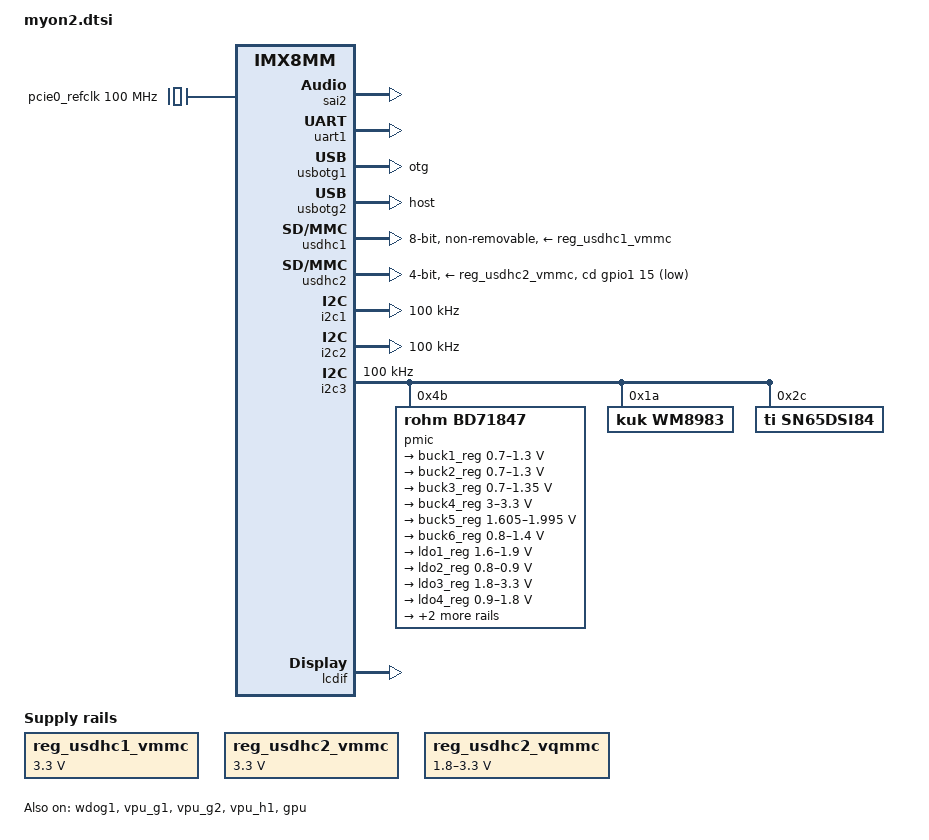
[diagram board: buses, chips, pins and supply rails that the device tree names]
/*
 * Copyright 2020 Keith & Koep GmbH
 */

/*
Defines:
    
    MYON2_SWITCH_USDHC2_VQMMC       Allow for UHS transfer rate on external SD-card.

*/

#include "imx8mm.dtsi"
#include "myon2-pinfunc.h"

#define MYON2_HOGGRP_COMMON     PIN0_32_GPIO   PAD_GPIO_PD      /* nReset_Out   */

/ {
	firmware {
		android {
			compatible = "android,firmware";
			/* default emmc node used for GSI */
			boot_devices = "soc@0/soc@0:bus@30800000/30b40000.mmc";
			/* sd card node which used if androidboot.boot_device_root=mmcblk1 */
			boot_devices_mmcblk1 = "soc@0/soc@0:bus@30800000/30b40000.mmc";
			/* emmc node which used if androidboot.boot_device_root=mmcblk2 */
			boot_devices_mmcblk2 = "soc@0/soc@0:bus@30800000/30b40000.mmc";
			fstab {
				compatible = "android,fstab";
				system {
					compatible = "android,system";
					dev = "system";
					type = "ext4";
					mnt_flags = "noatime,errors=panic,ro,barrier=1,inode_readahead_blks=8";
					fsmgr_flags = "wait,slotselect,avb,avb_keys=/avb/q-gsi.avbpubkey:/avb/r-gsi.avbpubkey:/avb/s-gsi.avbpubkey,logical,first_stage_mount";
				};
				vendor {
					compatible = "android,vendor";
					dev = "vendor";
					type = "ext4";
					mnt_flags = "noatime,errors=panic,ro,barrier=1,inode_readahead_blks=8";
					fsmgr_flags = "wait,slotselect,avb,logical,first_stage_mount";
				};
				product {
					compatible = "android,product";
					dev = "product";
					type = "ext4";
					mnt_flags = "noatime,errors=panic,ro,barrier=1,inode_readahead_blks=8";
					fsmgr_flags = "wait,slotselect,avb,logical,first_stage_mount";
				};
			};
			vbmeta {
				/*we need use FirstStageMountVBootV2 if we enable avb*/
				compatible = "android,vbmeta";
				/*parts means the partition witch can be mount in first stage*/
				parts = "vbmeta,dtbo,boot,system,vendor,product";
			};
		};
	};
};

/ {
	trusty {
		compatible = "android,trusty-smc-v1";
		ranges;
		#address-cells = <2>;
		#size-cells = <2>;
		trusty-irq {
			compatible = "android,trusty-irq-v1";
			interrupt-templates = <&trusty_ipi 0>;
			interrupt-ranges = < 0 15 0>;
		};
		trusty-virtio {
			compatible = "android,trusty-virtio-v1";
		};
		trusty-log {
			compatible = "android,trusty-log-v1";
		};
	};
	trusty_ipi: interrupt-controller@0 {
		compatible = "android,CustomIPI";
		interrupt-controller;
		#interrupt-cells = <1>;
	};
};

/ {
	reserved-memory {
		#address-cells = <2>;
		#size-cells = <2>;
		ranges;

		rpmsg_reserved: rpmsg@0xb8000000 {
			no-map;
			reg = <0 0xb8000000 0 0x400000>;
		};
	};

	pcie0_refclk: pcie0-refclk {
		compatible = "fixed-clock";
		#clock-cells = <0>;
		clock-frequency = <100000000>;
	};

	reg_usdhc1_vmmc: usdhc1_vmmc {
		compatible = "regulator-fixed";
		regulator-name = "VMMC_USDHC1";
		regulator-min-microvolt = <3300000>;
		regulator-max-microvolt = <3300000>;
		enable-active-high;
	};

	reg_usdhc2_vmmc: regulator-usdhc2 {
		compatible = "regulator-fixed";
		regulator-name = "VMMC_USDHC2";
		regulator-min-microvolt = <3300000>;
		regulator-max-microvolt = <3300000>;
		enable-active-high;
	};

	reg_usdhc2_vqmmc: regulator-usdhc2-vqmmc {
		compatible = "regulator-gpio";
		regulator-name = "VDDIO_USDHC2";
		regulator-min-microvolt = <1800000>;
		regulator-max-microvolt = <3300000>;
    	pinctrl-names = "default";
	    pinctrl-0 = <&pinctrl_sd_vsel>;        
        gpios = <sd_vsel_gpio GPIO_ACTIVE_HIGH>;
        gpios-states = <1>;
		states = <1800000 1>, <3300000 0>;
	};

	sound-wm8983 {
		compatible = "kuk,imx-audio-wm8983";
		model = "wm8983-audio";
		audio-cpu = <&sai2>;
		audio-codec = <&wm8983>;
		audio-routing =
			"Headphone Jack", "HPL",
			"Headphone Jack", "HPR",
			"Headphone Jack", "OUT4",
			"Speaker", "SPKL",
			"Speaker", "SPKR",
			"LineIn Jack", "L2",
			"LineIn Jack", "R2",
			"Microphone", "LIP",
			"Microphone", "LIN",
			"Microphone", "MICBIAS";
		codec-master;
	};

	sound-spdif {
		compatible = "fsl,imx-audio-spdif";
		model = "imx-spdif";
		spdif-controller = <&spdif1>;
		spdif-out;
		spdif-in;
	};

	sound-micfil {
		compatible = "fsl,imx-audio-micfil";
		model = "imx-audio-micfil";
		cpu-dai = <&micfil>;
	};

	backlight: backlight {
		compatible = "pwm-backlight";
		pwms = <&pwm1 0 100000 0>;
		brightness-levels = < 0  1  2  3  4  5  6  7  8  9
				     10 11 12 13 14 15 16 17 18 19
				     20 21 22 23 24 25 26 27 28 29
				     30 31 32 33 34 35 36 37 38 39
				     40 41 42 43 44 45 46 47 48 49
				     50 51 52 53 54 55 56 57 58 59
				     60 61 62 63 64 65 66 67 68 69
				     70 71 72 73 74 75 76 77 78 79
				     80 81 82 83 84 85 86 87 88 89
				     90 91 92 93 94 95 96 97 98 99
				    100>;
		default-brightness-level = <80>;
		status = "disabled";
 	};
};

&A53_0 {
	cpu-supply = <&buck2_reg>;
};

&pcie0{
	pinctrl-names   = "default";
	pinctrl-0       = <&pinctrl_pcie0>;
	disable-gpio    = <&gpio3 17 GPIO_ACTIVE_LOW>;
	reset-gpio      = <&gpio2 19 GPIO_ACTIVE_LOW>;
	clocks          = <&clk IMX8MM_CLK_PCIE1_ROOT>,
		                <&clk IMX8MM_CLK_PCIE1_AUX>,
		                <&clk IMX8MM_CLK_PCIE1_PHY>,
		                <&pcie0_refclk>;
	clock-names = "pcie", "pcie_aux", "pcie_phy", "pcie_bus";
	hard-wired      = <1>;
    ext_osc         = <0>;
	reserved-region = <&rpmsg_reserved>;
	status = "disabled";
};

&clk {
	assigned-clocks = <&clk IMX8MM_AUDIO_PLL1>, <&clk IMX8MM_AUDIO_PLL2>;
	assigned-clock-rates = <786432000>, <722534400>;
};

&sai2 {
	#sound-dai-cells = <0>;
	pinctrl-names = "default";
	pinctrl-0 = <&pinctrl_sai2>;
	assigned-clocks = <&clk IMX8MM_CLK_SAI2>;
	assigned-clock-parents = <&clk IMX8MM_AUDIO_PLL1_OUT>;
	assigned-clock-rates = <24576000>;
	status = "okay";
};

&snvs_pwrkey {
	status = "disabled";
};

&uart1 { /* UART on Port2 (debug) J70-69,71 */
	pinctrl-names = "default";
	pinctrl-0 = <&pinctrl_uart1>;
	assigned-clocks = <&clk IMX8MM_CLK_UART1>;
	assigned-clock-parents = <&clk IMX8MM_SYS_PLL1_80M>;
	fsl,uart-has-rtscts;
	status = "okay";
};

&uart2 { /* UART on Port1 J70-61,63 */
	pinctrl-names = "default";
	pinctrl-0 = <&pinctrl_uart2>;
	assigned-clocks = <&clk IMX8MM_CLK_UART2>;
	assigned-clock-parents = <&clk IMX8MM_SYS_PLL1_80M>;
    fsl,uart-has-rtscts;
	status = "disabled";
};

&uart3 { /* UART on Port 3 J70-54,58 */
	pinctrl-names = "default";
	pinctrl-0 = <&pinctrl_uart3>;
	assigned-clocks = <&clk IMX8MM_CLK_UART3>;
	assigned-clock-parents = <&clk IMX8MM_SYS_PLL1_80M>;
	fsl,uart-has-rtscts;
	status = "disabled";
};

&uart4 { 
	pinctrl-names = "default";
	pinctrl-0 = <&pinctrl_uart4>;
	assigned-clocks = <&clk IMX8MM_CLK_UART4>;
	assigned-clock-parents = <&clk IMX8MM_SYS_PLL1_80M>;
	fsl,uart-has-rtscts;
	status = "disabled";
};


&usbotg1 {
	dr_mode = "otg";
	hnp-disable;
	srp-disable;
	adp-disable;
	usb-role-switch;
	picophy,pre-emp-curr-control = <3>;
	picophy,dc-vol-level-adjust = <7>;
	status = "okay";
};

&usbotg2 {
	dr_mode = "host";
	hnp-disable;
	srp-disable;
	adp-disable;
	usb-role-switch;
	picophy,pre-emp-curr-control = <3>;
	picophy,dc-vol-level-adjust = <7>;
	status = "okay";
};

&usdhc1 {
	pinctrl-names = "default", "state_100mhz", "state_200mhz";
	pinctrl-0 = <&pinctrl_usdhc1>, <&pinctrl_usdhc1_gpio>;
	pinctrl-1 = <&pinctrl_usdhc1_100mhz>, <&pinctrl_usdhc1_gpio>;
	pinctrl-2 = <&pinctrl_usdhc1_200mhz>, <&pinctrl_usdhc1_gpio>;
	bus-width = <8>;
	vmmc-supply = <&reg_usdhc1_vmmc>;
	non-removable;
	status = "okay";
};

&usdhc2 {
	pinctrl-names = "default", "state_100mhz", "state_200mhz";
	pinctrl-0 = <&pinctrl_usdhc2>, <&pinctrl_usdhc2_gpio>;
	pinctrl-1 = <&pinctrl_usdhc2_100mhz>, <&pinctrl_usdhc2_gpio>;
	pinctrl-2 = <&pinctrl_usdhc2_200mhz>, <&pinctrl_usdhc2_gpio>;
	cd-gpios = <&gpio1 15 GPIO_ACTIVE_LOW>;
	bus-width = <4>;
	vmmc-supply = <&reg_usdhc2_vmmc>;
	pm-ignore-notify;
	keep-power-in-suspend;
#if defined(MYON2_SWITCH_USDHC2_VQMMC) && (MYON2_SWITCH_USDHC2_VQMMC==1)
    vqmmc-supply = <&reg_usdhc2_vqmmc>;
#else
    no-1-8-v;
#endif    
	status = "okay";
};

&wdog1 {
	pinctrl-names = "default";
	pinctrl-0 = <&pinctrl_wdog>;
	fsl,ext-reset-output;
	status = "okay";
};

&i2c1 { /* CAM_I2C on J71-67,69 */
	clock-frequency = <100000>;
	pinctrl-names = "default";
	pinctrl-0 = <&pinctrl_i2c1>;
	status = "okay";
};

&i2c2 { /* I2C on Port4 J70-66,68 (typ. touch) */
	clock-frequency = <100000>;
	pinctrl-names = "default";
	pinctrl-0 = <&pinctrl_i2c2>;
	status = "okay";
};

&i2c3 { /* Internal I2C and Port6 J70-19,21 (typ. RTC) */
	clock-frequency = <100000>;
	pinctrl-names = "default";
	pinctrl-0 = <&pinctrl_i2c3>;
	status = "okay";

	pmic@4b {
		compatible = "rohm,bd71847";
		reg = <0x4b>;
		rohm,reset-snvs-powered;

		regulators {
			buck1_reg: BUCK1 {  // VDD_SOC_0V8
				regulator-name = "BUCK1";
				regulator-min-microvolt = <700000>;
				regulator-max-microvolt = <1300000>;
				regulator-boot-on;
				regulator-always-on;
				regulator-ramp-delay = <1250>;
			};

			buck2_reg: BUCK2 {  // VDD_SOC_0V9
				regulator-name = "BUCK2";
				regulator-min-microvolt = <700000>;
				regulator-max-microvolt = <1300000>;
				regulator-boot-on;
				regulator-always-on;
				regulator-ramp-delay = <1250>;
				rohm,dvs-run-voltage = <1000000>;
				rohm,dvs-idle-voltage = <900000>;
			};

			buck3_reg: BUCK3 {  // VDD_DRAM_PU_0V9
				// BUCK5 in datasheet
				regulator-name = "BUCK3";
				regulator-min-microvolt = <700000>;
				regulator-max-microvolt = <1350000>;
				regulator-boot-on;
				regulator-always-on;
			};

			buck4_reg: BUCK4 {  // +3V3_AUX
				// BUCK6 in datasheet
				regulator-name = "BUCK4";
				regulator-min-microvolt = <3000000>;
				regulator-max-microvolt = <3300000>;
				regulator-boot-on;
				regulator-always-on;
			};

			buck5_reg: BUCK5 {  // VDD_1V8
				// BUCK7 in datasheet
				regulator-name = "BUCK5";
				regulator-min-microvolt = <1605000>;
				regulator-max-microvolt = <1995000>;
				regulator-boot-on;
				regulator-always-on;
			};

			buck6_reg: BUCK6 {  // NVCC_DRAM_1V1
				// BUCK8 in datasheet
				regulator-name = "BUCK6";
				regulator-min-microvolt = <800000>;
				regulator-max-microvolt = <1400000>;
				regulator-boot-on;
				regulator-always-on;
			};

			ldo1_reg: LDO1 {    // NVCC_SNVS_1V8
				regulator-name = "LDO1";
				regulator-min-microvolt = <1600000>;
				regulator-max-microvolt = <1900000>;
				regulator-boot-on;
				regulator-always-on;
			};

			ldo2_reg: LDO2 {    // VDD_SNVS_0V8
				regulator-name = "LDO2";
				regulator-min-microvolt = <800000>;
				regulator-max-microvolt = <900000>;
				regulator-boot-on;
				regulator-always-on;
			};

			ldo3_reg: LDO3 {    // VDDA_1V8
				regulator-name = "LDO3";
				regulator-min-microvolt = <1800000>;
				regulator-max-microvolt = <3300000>;
				regulator-boot-on;
				regulator-always-on;
			};

			ldo4_reg: LDO4 {    // VDD_PHY_0V9
				regulator-name = "LDO4";
				regulator-min-microvolt = <900000>;
				regulator-max-microvolt = <1800000>;
				regulator-boot-on;
				regulator-always-on;
			};

			ldo5_reg: LDO5 {    // VDD_ENET_2V5
				regulator-name = "LDO5";
				regulator-min-microvolt = <800000>;
				regulator-max-microvolt = <3300000>;
				regulator-boot-on;
				regulator-always-on;
			};

			ldo6_reg: LDO6 {    // VDD_PHY_1V2
				regulator-name = "LDO6";
				regulator-min-microvolt = <900000>;
				regulator-max-microvolt = <1800000>;
				regulator-boot-on;
				regulator-always-on;
			};
		};
	};

	wm8983: wm8983@1a {	/* Audio-Codec */
		compatible = "kuk,wm8983";
		reg = <0x1a>;
		clocks = <&clk IMX8MM_CLK_SAI2_ROOT>;
		clock-names = "mclk";		
	};

	sn65dsi84@2c {
		status = "ok";
		compatible = "ti,sn65dsi84";
		reg = <0x2c>;
		enable-gpios =<pin0_72_gpio GPIO_ACTIVE_HIGH>;
					
		pinctrl-names = "default";
		pinctrl-0 = <&pinctrl_i2c3_sn65dsi84_en>;
	};    
};


&iomuxc {
	pinctrl-names = "default";

	pinctrl_fec1: fec1grp {
		fsl,pins = <
			MX8MM_IOMUXC_ENET_MDC_ENET1_MDC			0x3
			MX8MM_IOMUXC_ENET_MDIO_ENET1_MDIO		0x3
			MX8MM_IOMUXC_ENET_TD3_ENET1_RGMII_TD3		0x1f
			MX8MM_IOMUXC_ENET_TD2_ENET1_RGMII_TD2		0x1f
			MX8MM_IOMUXC_ENET_TD1_ENET1_RGMII_TD1		0x1f
			MX8MM_IOMUXC_ENET_TD0_ENET1_RGMII_TD0		0x1f
			MX8MM_IOMUXC_ENET_RD3_ENET1_RGMII_RD3		0x91
			MX8MM_IOMUXC_ENET_RD2_ENET1_RGMII_RD2		0x91
			MX8MM_IOMUXC_ENET_RD1_ENET1_RGMII_RD1		0x91
			MX8MM_IOMUXC_ENET_RD0_ENET1_RGMII_RD0		0x91
			MX8MM_IOMUXC_ENET_TXC_ENET1_RGMII_TXC		0x1f
			MX8MM_IOMUXC_ENET_RXC_ENET1_RGMII_RXC		0x91
			MX8MM_IOMUXC_ENET_RX_CTL_ENET1_RGMII_RX_CTL	0x91
			MX8MM_IOMUXC_ENET_TX_CTL_ENET1_RGMII_TX_CTL	0x1f
			MX8MM_IOMUXC_GPIO1_IO09_GPIO1_IO9		0x19
		>;
	};


	pinctrl_i2c1: i2c1grp {
		fsl,pins = <
			MX8MM_IOMUXC_I2C1_SCL_I2C1_SCL			0x400001c3
			MX8MM_IOMUXC_I2C1_SDA_I2C1_SDA			0x400001c3
		>;
	};

	pinctrl_i2c2: i2c2grp {
		fsl,pins = <
			MX8MM_IOMUXC_I2C2_SCL_I2C2_SCL			0x400001c3
			MX8MM_IOMUXC_I2C2_SDA_I2C2_SDA			0x400001c3
		>;
	};

	pinctrl_i2c3: i2c3grp {
		fsl,pins = <
			MX8MM_IOMUXC_I2C3_SCL_I2C3_SCL			0x400001c3
			MX8MM_IOMUXC_I2C3_SDA_I2C3_SDA			0x400001c3
		>;
	};

	pinctrl_i2c4: i2c4grp {
		fsl,pins = <
			MX8MM_IOMUXC_I2C4_SCL_I2C4_SCL			0x400001c3
			MX8MM_IOMUXC_I2C4_SDA_I2C4_SDA			0x400001c3
		>;
	};    

	pinctrl_pcie0: pcie0grp {
		fsl,pins = <
			MX8MM_IOMUXC_I2C4_SCL_PCIE1_CLKREQ_B	0x61    /* open drain, pull up */
			MX8MM_IOMUXC_NAND_CE1_B_GPIO3_IO2	0x41   		/* PCIE1_WAKE          */
		>;
	};


	pinctrl_sai2: sai2grp {
		fsl,pins = <
			MX8MM_IOMUXC_SAI2_TXFS_SAI2_TX_SYNC	0xd6
			MX8MM_IOMUXC_SAI2_TXC_SAI2_TX_BCLK	0xd6
			MX8MM_IOMUXC_SAI2_MCLK_SAI2_MCLK	0xd6
			MX8MM_IOMUXC_SAI2_TXD0_SAI2_TX_DATA0	0xd6
			MX8MM_IOMUXC_SAI2_RXD0_SAI2_RX_DATA0	0xd6			
		>;
    };

	pinctrl_uart1: uart1grp {
		fsl,pins = <
			MX8MM_IOMUXC_UART1_RXD_UART1_DCE_RX	0x140
			MX8MM_IOMUXC_UART1_TXD_UART1_DCE_TX	0x140
		>;
	};

	pinctrl_uart2: uart2grp {
		fsl,pins = <
			MX8MM_IOMUXC_UART2_RXD_UART2_DCE_RX	0x140
			MX8MM_IOMUXC_UART2_TXD_UART2_DCE_TX	0x140
			MX8MM_IOMUXC_UART4_RXD_UART2_DCE_CTS_B  0x140     /* RTS */
			MX8MM_IOMUXC_UART4_TXD_UART2_DCE_RTS_B  0x140     /* CTS */
		>;
	};

	pinctrl_uart3: uart3grp {
		fsl,pins = <
			MX8MM_IOMUXC_ECSPI1_SCLK_UART3_DCE_RX		0x140  /* SCHEMA/LAYOUT: RXD */
			MX8MM_IOMUXC_ECSPI1_MISO_UART3_DCE_CTS_B	0x140  /* SCHEMA/LAYOUT: RTS */
			MX8MM_IOMUXC_ECSPI1_MOSI_UART3_DCE_TX		0x140  /* SCHEMA/LAYOUT: TXD */
			MX8MM_IOMUXC_ECSPI1_SS0_UART3_DCE_RTS_B		0x140  /* SCHEMA/LAYOUT: CTS */
		>;
	};

	pinctrl_uart4: uart4grp {
		fsl,pins = <
			MX8MM_IOMUXC_ECSPI2_SCLK_UART4_DCE_RX		0x140
			MX8MM_IOMUXC_ECSPI2_MOSI_UART4_DCE_TX		0x140
			MX8MM_IOMUXC_ECSPI2_SS0_UART4_DCE_RTS_B         0x140
			MX8MM_IOMUXC_ECSPI2_MISO_UART4_DCE_CTS_B	0x140
		>;
	};

	pinctrl_usdhc1_gpio: usdhc1grpgpio {
		fsl,pins = <
			MX8MM_IOMUXC_SD1_RESET_B_USDHC1_RESET_B	0xc1
		>;
	};

	pinctrl_usdhc1: usdhc1grp {
		fsl,pins = <
			MX8MM_IOMUXC_SD1_CLK_USDHC1_CLK		0x190
			MX8MM_IOMUXC_SD1_CMD_USDHC1_CMD		0x1d0
			MX8MM_IOMUXC_SD1_DATA0_USDHC1_DATA0	0x1d0
			MX8MM_IOMUXC_SD1_DATA1_USDHC1_DATA1	0x1d0
			MX8MM_IOMUXC_SD1_DATA2_USDHC1_DATA2	0x1d0
			MX8MM_IOMUXC_SD1_DATA3_USDHC1_DATA3	0x1d0
			MX8MM_IOMUXC_SD1_DATA4_USDHC1_DATA4	0x1d0
			MX8MM_IOMUXC_SD1_DATA5_USDHC1_DATA5	0x1d0
			MX8MM_IOMUXC_SD1_DATA6_USDHC1_DATA6	0x1d0
			MX8MM_IOMUXC_SD1_DATA7_USDHC1_DATA7	0x1d0
			MX8MM_IOMUXC_SD1_STROBE_USDHC1_STROBE	0x190			
		>;
	};

	pinctrl_usdhc1_100mhz: usdhc1grp100mhz {
		fsl,pins = <
			MX8MM_IOMUXC_SD1_CLK_USDHC1_CLK		0x194
			MX8MM_IOMUXC_SD1_CMD_USDHC1_CMD		0x1d4
			MX8MM_IOMUXC_SD1_DATA0_USDHC1_DATA0	0x1d4
			MX8MM_IOMUXC_SD1_DATA1_USDHC1_DATA1	0x1d4
			MX8MM_IOMUXC_SD1_DATA2_USDHC1_DATA2	0x1d4
	    	MX8MM_IOMUXC_SD1_DATA3_USDHC1_DATA3	0x1d4
			MX8MM_IOMUXC_SD1_DATA4_USDHC1_DATA4	0x1d4
			MX8MM_IOMUXC_SD1_DATA5_USDHC1_DATA5	0x1d4
			MX8MM_IOMUXC_SD1_DATA6_USDHC1_DATA6	0x1d4
			MX8MM_IOMUXC_SD1_DATA7_USDHC1_DATA7	0x1d4
			MX8MM_IOMUXC_SD1_STROBE_USDHC1_STROBE	0x194
		>;
	};

	pinctrl_usdhc1_200mhz: usdhc1grp200mhz {
		fsl,pins = <
			MX8MM_IOMUXC_SD1_CLK_USDHC1_CLK		0x196
			MX8MM_IOMUXC_SD1_CMD_USDHC1_CMD		0x1d6
			MX8MM_IOMUXC_SD1_DATA0_USDHC1_DATA0	0x1d6
			MX8MM_IOMUXC_SD1_DATA1_USDHC1_DATA1	0x1d6
			MX8MM_IOMUXC_SD1_DATA2_USDHC1_DATA2	0x1d6
			MX8MM_IOMUXC_SD1_DATA3_USDHC1_DATA3	0x1d6
			MX8MM_IOMUXC_SD1_DATA4_USDHC1_DATA4	0x1d6
			MX8MM_IOMUXC_SD1_DATA5_USDHC1_DATA5	0x1d6
			MX8MM_IOMUXC_SD1_DATA6_USDHC1_DATA6	0x1d6
			MX8MM_IOMUXC_SD1_DATA7_USDHC1_DATA7	0x1d6
			MX8MM_IOMUXC_SD1_STROBE_USDHC1_STROBE	0x196
		>;
	};

	pinctrl_usdhc2_gpio: usdhc2grpgpio {
		fsl,pins = <
			MX8MM_IOMUXC_SD2_CD_B_GPIO2_IO12	0x1c4
		>;
	};

	pinctrl_usdhc2: usdhc2grp {
		fsl,pins = <
			MX8MM_IOMUXC_SD2_CLK_USDHC2_CLK		0x190
			MX8MM_IOMUXC_SD2_CMD_USDHC2_CMD		0x1d0
			MX8MM_IOMUXC_SD2_DATA0_USDHC2_DATA0	0x1d0
			MX8MM_IOMUXC_SD2_DATA1_USDHC2_DATA1	0x1d0
			MX8MM_IOMUXC_SD2_DATA2_USDHC2_DATA2	0x1d0
			MX8MM_IOMUXC_SD2_DATA3_USDHC2_DATA3	0x1d0
		>;
	};

	pinctrl_usdhc2_100mhz: usdhc2grp100mhz {
		fsl,pins = <
			MX8MM_IOMUXC_SD2_CLK_USDHC2_CLK		0x194
			MX8MM_IOMUXC_SD2_CMD_USDHC2_CMD		0x1d4
			MX8MM_IOMUXC_SD2_DATA0_USDHC2_DATA0	0x1d4
			MX8MM_IOMUXC_SD2_DATA1_USDHC2_DATA1	0x1d4
			MX8MM_IOMUXC_SD2_DATA2_USDHC2_DATA2	0x1d4
			MX8MM_IOMUXC_SD2_DATA3_USDHC2_DATA3	0x1d4
		>;
	};

	pinctrl_usdhc2_200mhz: usdhc2grp200mhz {
		fsl,pins = <
			MX8MM_IOMUXC_SD2_CLK_USDHC2_CLK		0x196
			MX8MM_IOMUXC_SD2_CMD_USDHC2_CMD		0x1d6
			MX8MM_IOMUXC_SD2_DATA0_USDHC2_DATA0	0x1d6
			MX8MM_IOMUXC_SD2_DATA1_USDHC2_DATA1	0x1d6
			MX8MM_IOMUXC_SD2_DATA2_USDHC2_DATA2	0x1d6
			MX8MM_IOMUXC_SD2_DATA3_USDHC2_DATA3	0x1d6
		>;
	};

	pinctrl_wdog: wdoggrp {
		fsl,pins = <
			MX8MM_IOMUXC_GPIO1_IO02_WDOG1_WDOG_B	0xc6
		>;
	};        

	pinctrl_sd_vsel: sdvselgrp {
		fsl,pins = < SD_VSEL_GPIO       PAD_GPIO >;
	};

	pinctrl_i2c3_sn65dsi84_en: sn65dsi84_iogrp {
		fsl,pins = < PIN0_72_GPIO1_IO4  PAD_GPIO  >; /* Myon internal LVDS Enable and external Pin0-72 */
	};

};

&lcdif {
	status = "okay";
};

&vpu_g1 {
	status = "okay";
};

&vpu_g2 {
	status = "okay";
};

&vpu_h1 {
	status = "okay";
};

&gpu {
	status = "okay";
};
